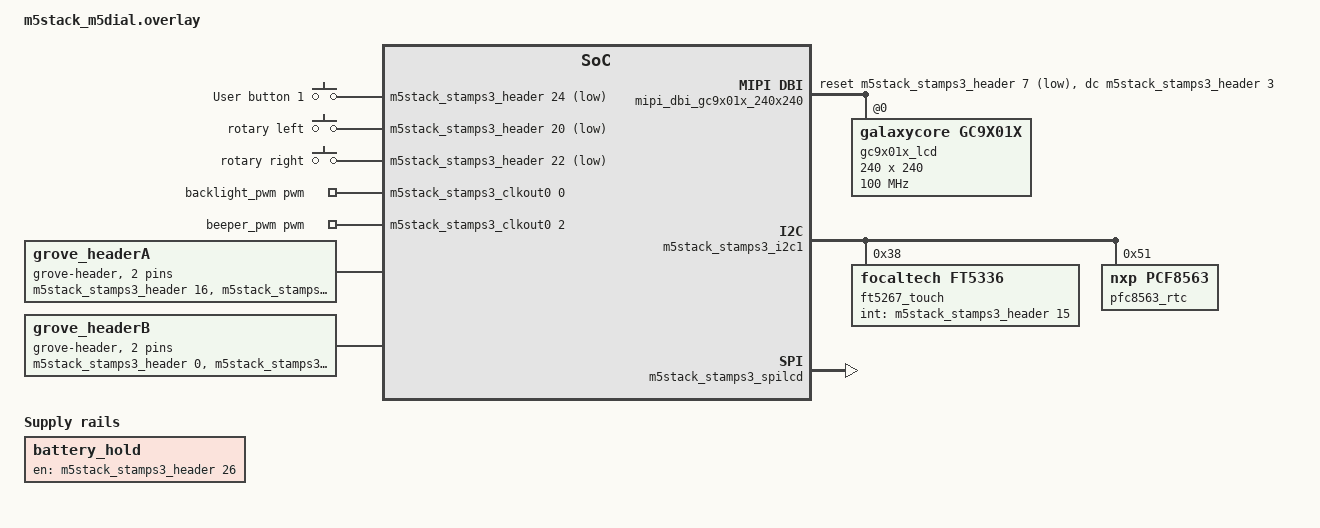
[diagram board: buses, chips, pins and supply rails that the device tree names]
/*
 * Copyright (c) 2023 Martin Kiepfer <mrmarteng@teleschirm.org>
 *
 * SPDX-License-Identifier: Apache-2.0
 */
#include <zephyr/dt-bindings/pwm/pwm.h>
#include <zephyr/dt-bindings/display/panel.h>
#include <zephyr/dt-bindings/input/input-event-codes.h>
#include <zephyr/dt-bindings/mipi_dbi/mipi_dbi.h>

/ {
	chosen {
		zephyr,display = &gc9x01x_lcd;
		zephyr,display-backlight = &backlight_pwm;
		zephyr,rtc = &pfc8563_rtc;
	};

	aliases {
		sw0 = &user_button_1; /* overwrite StampS3 user button */
	};

	gpio_keys {
		compatible = "gpio-keys";

		user_button_1: button_1 {
			label = "User button 1";
			gpios = <&m5stack_stamps3_header 24 GPIO_ACTIVE_LOW>;
			zephyr,code = <INPUT_KEY_0>;
		};

		rotary_left: rotary_left {
			label = "rotary left";
			gpios = <&m5stack_stamps3_header 20 GPIO_ACTIVE_LOW>;
			zephyr,code = <INPUT_KEY_LEFT>;
		};

		rotary_right: rotary_right {
			label = "rotary right";
			gpios = <&m5stack_stamps3_header 22 GPIO_ACTIVE_LOW>;
			zephyr,code = <INPUT_KEY_RIGHT>;
		};
	};

	mipi_dbi_gc9x01x_240x240 {
		compatible = "zephyr,mipi-dbi-spi";
		spi-dev = <&m5stack_stamps3_spilcd>;
		dc-gpios = <&m5stack_stamps3_header 3 GPIO_ACTIVE_HIGH>;
		reset-gpios = <&m5stack_stamps3_header 7 GPIO_ACTIVE_LOW>;
		write-only;
		#address-cells = <1>;
		#size-cells = <0>;

		gc9x01x_lcd: gc9x01x_lcd@0 {
			compatible = "galaxycore,gc9x01x";
			reg = <0>;
			mipi-max-frequency = <100000000>;
			display-inversion;
			pixel-format = <PANEL_PIXEL_FORMAT_RGB_565>;

			width = <240>;
			height = <240>;

			mipi-mode = <MIPI_DBI_MODE_SPI_4WIRE>;
		};
	};

	backlight_pwm: backlight_pwm {
		status = "okay";
		compatible = "pwm-clock";
		#clock-cells = <1>;
		pwms = <&m5stack_stamps3_clkout0 0 PWM_MSEC(5) PWM_POLARITY_NORMAL>;
	};

	beeper_pwm: beeper_pwm {
		status = "okay";
		compatible = "pwm-clock";
		#clock-cells = <1>;
		pwms = <&m5stack_stamps3_clkout0 2 PWM_USEC(1500) PWM_POLARITY_NORMAL>;
	};

	battery_hold {
		compatible = "regulator-fixed";
		regulator-name = "battery_hold";
		enable-gpios = <&m5stack_stamps3_header 26 GPIO_ACTIVE_HIGH>;
		regulator-boot-on;
	};

	grove_headerA: grove_headerA {
		compatible = "grove-header";
		#gpio-cells = <2>;
		gpio-map-mask = <0xffffffff 0xffffffc0>;
		gpio-map-pass-thru = <0 0x3f>;
		gpio-map = <0 0 &m5stack_stamps3_header 16 0>,
			   <1 0 &m5stack_stamps3_header 14 0>;
	};

	grove_headerB: grove_headerB {
		compatible = "grove-header";
		#gpio-cells = <2>;
		gpio-map-mask = <0xffffffff 0xffffffc0>;
		gpio-map-pass-thru = <0 0x3f>;
		gpio-map = <0 0 &m5stack_stamps3_header 0 0>,
			   <1 0 &m5stack_stamps3_header 1 0>;
	};

	lvgl_pointer {
		compatible = "zephyr,lvgl-pointer-input";
		input = <&ft5267_touch>;
		swap-xy;
	};

};
&m5stack_stamps3_clkout0 {
	status = "okay";

};

&m5stack_stamps3_i2c1 {
	status = "okay";

	ft5267_touch: ft3267@38 {
		compatible = "focaltech,ft5336";
		reg = <0x38>;
		int-gpios = <&m5stack_stamps3_header 15 0>;
	};

	pfc8563_rtc: pfc8563@51 {
		compatible = "nxp,pcf8563";
		reg = <0x51>;
		status = "okay";
	};
};

&m5stack_stamps3_spilcd {
	status = "okay";
	dma-enabled;
};

groveA_i2c: &m5stack_stamps3_i2c0 {};
